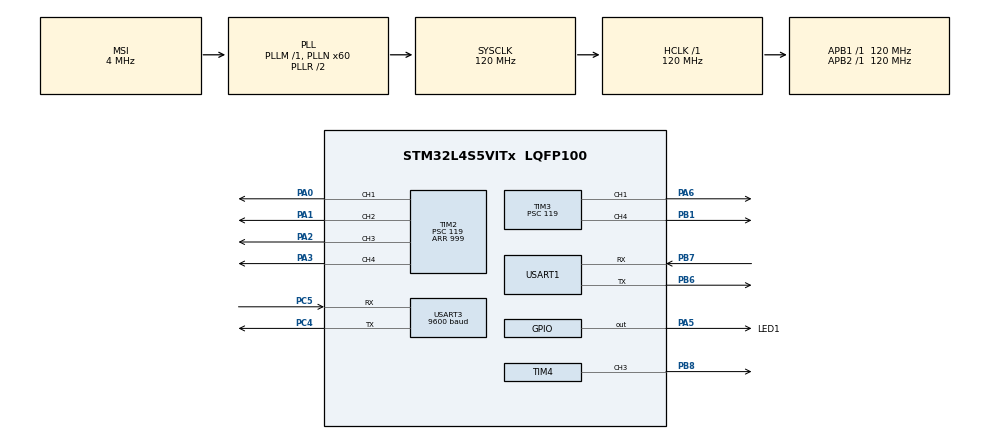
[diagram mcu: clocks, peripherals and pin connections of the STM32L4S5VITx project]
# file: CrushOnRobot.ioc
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Mcu.Family=STM32L4
Mcu.Name=STM32L4S5VITx
Mcu.Package=LQFP100
NVIC.PriorityGroup=NVIC_PRIORITYGROUP_4
NVIC.TIM1_UP_TIM16_IRQn=true\:15\:0\:false\:false\:true\:false\:true
NVIC.TimeBase=TIM1_UP_TIM16_IRQn
NVIC.TimeBaseIP=TIM1
NVIC.USART1_IRQn=true\:7\:0\:true\:false\:true\:true\:true
NVIC.USART3_IRQn=true\:7\:0\:true\:false\:true\:true\:true
PA0.Signal=S_TIM2_CH1
PA1.Signal=S_TIM2_CH2
PA13\ (JTMS/SWDIO).Mode=Serial_Wire
PA13\ (JTMS/SWDIO).Signal=SYS_JTMS-SWDIO
PA14\ (JTCK/SWCLK).Mode=Serial_Wire
PA14\ (JTCK/SWCLK).Signal=SYS_JTCK-SWCLK
PA2.Signal=S_TIM2_CH3
PA3.Signal=S_TIM2_CH4
PA5.GPIO_Label=LED1
PA5.Signal=GPIO_Output
PA6.Signal=S_TIM3_CH1
PA7.Signal=S_TIM3_CH2
PB1.Signal=S_TIM3_CH4
PB6.Mode=Asynchronous
PB6.Signal=USART1_TX
PB7.Mode=Asynchronous
PB7.Signal=USART1_RX
PB8.Signal=S_TIM4_CH3
PC4.Mode=Asynchronous
PC4.Signal=USART3_TX
PC5.Mode=Asynchronous
PC5.Signal=USART3_RX
PE9.Signal=S_CKOUTDFSDM1
PH3-BOOT0.GPIO_PuPd=GPIO_PULLDOWN
PH3-BOOT0.Signal=EVENTOUT
ProjectManager.HeapSize=0x200
ProjectManager.StackSize=0x400
ProjectManager.TargetToolchain=STM32CubeIDE
RCC.ADCFreq_Value=48000000
RCC.AHBFreq_Value=120000000
RCC.APB1Freq_Value=120000000
RCC.APB1TimFreq_Value=120000000
RCC.APB2Freq_Value=120000000
RCC.APB2TimFreq_Value=120000000
RCC.CortexFreq_Value=120000000
RCC.HCLKFreq_Value=120000000
RCC.HSE_VALUE=8000000
RCC.HSI48_VALUE=48000000
RCC.HSI_VALUE=16000000
RCC.LSE_VALUE=32768
RCC.MSI_VALUE=4000000
RCC.PLLN=60
RCC.PLLSAI1N=24
RCC.SYSCLKFreq_VALUE=120000000
RCC.SYSCLKSource=RCC_SYSCLKSOURCE_PLLCLK
RCC.USBFreq_Value=48000000
RCC.VCOOutputFreq_Value=240000000
SH.S_CKOUTDFSDM1.0=DFSDM1_CKOUT
SH.S_TIM2_CH1.0=TIM2_CH1,PWM Generation1 CH1
SH.S_TIM2_CH2.0=TIM2_CH2,PWM Generation2 CH2
SH.S_TIM2_CH3.0=TIM2_CH3,PWM Generation3 CH3
SH.S_TIM2_CH4.0=TIM2_CH4,PWM Generation4 CH4
SH.S_TIM3_CH1.0=TIM3_CH1,PWM Generation1 CH1
SH.S_TIM3_CH2.0=TIM3_CH2
SH.S_TIM3_CH4.0=TIM3_CH4,PWM Generation4 CH4
SH.S_TIM4_CH3.0=TIM4_CH3,PWM Generation3 CH3
TIM2.Channel-PWM\ Generation1\ CH1=TIM_CHANNEL_1
TIM2.Channel-PWM\ Generation2\ CH2=TIM_CHANNEL_2
TIM2.Channel-PWM\ Generation3\ CH3=TIM_CHANNEL_3
TIM2.Channel-PWM\ Generation4\ CH4=TIM_CHANNEL_4
TIM2.Period=999
TIM2.Prescaler=119
TIM2.Pulse-PWM\ Generation1\ CH1=799
TIM2.Pulse-PWM\ Generation2\ CH2=799
TIM2.Pulse-PWM\ Generation3\ CH3=799
TIM2.Pulse-PWM\ Generation4\ CH4=799
TIM3.Channel-PWM\ Generation1\ CH1=TIM_CHANNEL_1
TIM3.Channel-PWM\ Generation4\ CH4=TIM_CHANNEL_4
TIM3.Period=999
TIM3.Prescaler=119
TIM3.Pulse-PWM\ Generation1\ CH1=799
TIM3.Pulse-PWM\ Generation4\ CH4=799
TIM4.Channel-PWM\ Generation3\ CH3=TIM_CHANNEL_3
TIM4.Period=2000-1
TIM4.Prescaler=1200-1
USART1.VirtualMode-Asynchronous=VM_ASYNC
USART3.BaudRate=9600
USART3.VirtualMode-Asynchronous=VM_ASYNC
VP_SYS_VS_tim1.Mode=TIM1
board=B-L4S5I-IOT01A

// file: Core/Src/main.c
/* USER CODE BEGIN Header */
/**
  ******************************************************************************
  * @file           : main.c
  * @brief          : Main program body
  ******************************************************************************
  * @attention
  *
  * <h2><center>&copy; Copyright (c) 2022 STMicroelectronics.
  * All rights reserved.</center></h2>
  *
  * This software component is licensed by ST under BSD 3-Clause license,
  * the "License"; You may not use this file except in compliance with the
  * License. You may obtain a copy of the License at:
  *                        opensource.org/licenses/BSD-3-Clause
  *
  ******************************************************************************
  */
/* USER CODE END Header */
#include "main.h"
#include "tim.h"
#include "usart.h"
#include "gpio.h"

/* USER CODE BEGIN Includes */
#include "string.h"
#include "stdio.h"
/* USER CODE END Includes */

/* USER CODE BEGIN PV */
uint8_t mode = 'a';
uint8_t rpi = 'a';
uint8_t rpiBuf[2] = {'a', 'a'};
uint8_t rx_debug;
uint8_t rx_camera;
int ccr1 = 0;
int ccr2 = 799;
int ccr3 = 1999;
short isSameMode = 0;
short isSameRpi = 0;
/* USER CODE END PV */

void SystemClock_Config(void);
/* USER CODE BEGIN PFP */
int __io_putchar(int ch);
/* USER CODE END PFP */

/* USER CODE BEGIN 0 */
int __io_putchar(int ch){
	while(HAL_UART_Transmit(&huart1, (uint8_t *) &ch, 1, 30000) != HAL_OK){}
	return ch;
}

/* USER CODE END 0 */

int main(void)
{

  /* MCU Configuration--------------------------------------------------------*/

  /* Reset of all peripherals, Initializes the Flash interface and the Systick. */
  HAL_Init();

  /* Configure the system clock */
  SystemClock_Config();

  /* Initialize all configured peripherals */
  MX_GPIO_Init();
  MX_USART1_UART_Init();
  MX_TIM2_Init();
  MX_TIM3_Init();
  MX_TIM4_Init();
  MX_USART3_UART_Init();
  /* USER CODE BEGIN 2 */
  HAL_UART_Receive_IT(&huart1, (uint8_t*) &rx_debug, 1);
  HAL_UART_Receive_IT(&huart3, (uint8_t*) &rx_camera, 1);

  HAL_TIM_PWM_Start(&htim2, TIM_CHANNEL_1);
  HAL_TIM_PWM_Start(&htim2, TIM_CHANNEL_2);
  HAL_TIM_PWM_Start(&htim2, TIM_CHANNEL_3);
  HAL_TIM_PWM_Start(&htim2, TIM_CHANNEL_4);
  HAL_TIM_PWM_Start(&htim3, TIM_CHANNEL_1);
  HAL_TIM_PWM_Start(&htim3, TIM_CHANNEL_4);
  HAL_TIM_PWM_Start(&htim4, TIM_CHANNEL_3); //servo

  printf("Initial setup finished\n");
  /* USER CODE END 2 */

  /* Infinite loop */
  /* USER CODE BEGIN WHILE */
  while (1)
  {
	  if(!isSameMode){
			isSameMode = 1;
			if(mode == 'a') //stop
			{
				TIM3->CCR1 = ccr1;
				TIM3->CCR4 = ccr1;
				TIM2->CCR1 = ccr1;
				TIM2->CCR4 = ccr1;
				TIM2->CCR2 = ccr1;
				TIM2->CCR3 = ccr1;
			}

			else if(mode == 'b') //clockwise
			{
				TIM3->CCR1 = ccr1;
				TIM3->CCR4 = ccr2;
				TIM2->CCR1 = ccr1;
				TIM2->CCR4 = ccr2;
				TIM2->CCR2 = ccr1;
				TIM2->CCR3 = ccr2;
			}
			else if(mode == 'c') //counter-clockwise
			{
				TIM3->CCR1 = ccr2;
				TIM3->CCR4 = ccr1;
				TIM2->CCR1 = ccr2;
				TIM2->CCR4 = ccr1;
				TIM2->CCR2 = ccr2;
				TIM2->CCR3 = ccr1;
			}
			else if(mode == 'd') //backward
			{
				TIM3->CCR1 = ccr1;
				TIM3->CCR4 = ccr1;
				TIM2->CCR1 = ccr1;
				TIM2->CCR4 = ccr2;
				TIM2->CCR2 = ccr2;
				TIM2->CCR3 = ccr1;
			}
			else if(mode == 'e') //forward
			{
				TIM3->CCR1 = ccr1;
				TIM3->CCR4 = ccr1;
				TIM2->CCR1 = ccr2;
				TIM2->CCR4 = ccr1;
				TIM2->CCR2 = ccr1;
				TIM2->CCR3 = ccr2;
			}
			else if(mode == 'x') //neck up
			{
				for(int i = 0; i < 120; i++){
					  TIM4->CCR3 = i;
					  HAL_Delay(10);
				}
			}
			else if(mode == 'y') //neck down
			{
				for(int i = 120; i > 0; i--){
					  TIM4->CCR3 = i;
					  HAL_Delay(10);
				}
			}
			else
			{
				mode = 'a';
				isSameMode = 0;
			}

			printf("mode = %c\n", mode);
	  }

	  if(!isSameRpi)
	  {
		  isSameRpi = 1;
		  if(rpi == 'h')
		  {
			  printf("!!HELP!!\n");
		  }

		  if(rpi == 'r')
		  {
			  printf("Turn Right\n");
		  }
		  else if(rpi == 'l')
		  {
			  printf("Turn Left\n");
		  }
		  else if(rpi == 'f')
		  {
			  printf("Stay Front\n");
		  }

		  if(rpi == 'u')
		  {
			  if(TIM4->CCR3 > 115) // unsigned int 이므로 음수 -> 큰 양수가 됨
			  {
				  TIM4->CCR3 = 120;
			  }
			  else
			  {
				  printf("Neck Up");
				  for(int i = 0; i < 5; i++)
				  {
					  TIM4->CCR3 += 1;
					  HAL_Delay(40);
				  }
			  }

		  }
		  else if(rpi == 'd')
		  {
			  if(TIM4->CCR3 < 5)
			  {
				  TIM4->CCR3 = 0;
			  }
			  else
			  {
				  printf("Neck Down");
				  for(int i = 0; i < 5; i++)
				  {
					  TIM4->CCR3 -= 1;
					  HAL_Delay(40);
				  }
			  }
		  }
		  else if(rpi == 's'){
			  printf("Neck Stop");
		  }
	  }

    /* USER CODE END WHILE */

  }
}

void SystemClock_Config(void)
{
  RCC_OscInitTypeDef RCC_OscInitStruct = {0};
  RCC_ClkInitTypeDef RCC_ClkInitStruct = {0};

  /** Configure the main internal regulator output voltage
  */
  if (HAL_PWREx_ControlVoltageScaling(PWR_REGULATOR_VOLTAGE_SCALE1_BOOST) != HAL_OK)
  {
    Error_Handler();
  }
  /** Initializes the RCC Oscillators according to the specified parameters
  * in the RCC_OscInitTypeDef structure.
  */
  RCC_OscInitStruct.OscillatorType = RCC_OSCILLATORTYPE_MSI;
  RCC_OscInitStruct.MSIState = RCC_MSI_ON;
  RCC_OscInitStruct.MSICalibrationValue = 0;
  RCC_OscInitStruct.MSIClockRange = RCC_MSIRANGE_6;
  RCC_OscInitStruct.PLL.PLLState = RCC_PLL_ON;
  RCC_OscInitStruct.PLL.PLLSource = RCC_PLLSOURCE_MSI;
  RCC_OscInitStruct.PLL.PLLM = 1;
  RCC_OscInitStruct.PLL.PLLN = 60;
  RCC_OscInitStruct.PLL.PLLP = RCC_PLLP_DIV2;
  RCC_OscInitStruct.PLL.PLLQ = RCC_PLLQ_DIV2;
  RCC_OscInitStruct.PLL.PLLR = RCC_PLLR_DIV2;
  if (HAL_RCC_OscConfig(&RCC_OscInitStruct) != HAL_OK)
  {
    Error_Handler();
  }
  /** Initializes the CPU, AHB and APB buses clocks
  */
  RCC_ClkInitStruct.ClockType = RCC_CLOCKTYPE_HCLK|RCC_CLOCKTYPE_SYSCLK
                              |RCC_CLOCKTYPE_PCLK1|RCC_CLOCKTYPE_PCLK2;
  RCC_ClkInitStruct.SYSCLKSource = RCC_SYSCLKSOURCE_PLLCLK;
  RCC_ClkInitStruct.AHBCLKDivider = RCC_SYSCLK_DIV1;
  RCC_ClkInitStruct.APB1CLKDivider = RCC_HCLK_DIV1;
  RCC_ClkInitStruct.APB2CLKDivider = RCC_HCLK_DIV1;

  if (HAL_RCC_ClockConfig(&RCC_ClkInitStruct, FLASH_LATENCY_5) != HAL_OK)
  {
    Error_Handler();
  }
}

/* USER CODE BEGIN 4 */
void HAL_UART_RxCpltCallback(UART_HandleTypeDef *huart){
	if(huart -> Instance == USART1){
		isSameMode = 0;
		mode = rx_debug;
		printf("====mode changed====\n");
		HAL_UART_Receive_IT(&huart1, (uint8_t*) &rx_debug, 1);
	}
	else if(huart -> Instance == USART3){
		rpiBuf[0] = rpiBuf[1];
		rpiBuf[1] = rx_camera;
		if(rpiBuf[0] != rpiBuf[1])
		{
			isSameRpi = 0;
		}
		rpi = rx_camera;
		HAL_UART_Receive_IT(&huart3, (uint8_t*) &rx_camera, 1);
	}
}
/* USER CODE END 4 */

void HAL_TIM_PeriodElapsedCallback(TIM_HandleTypeDef *htim)
{
  if (htim->Instance == TIM1) {
    HAL_IncTick();
  }
}

void Error_Handler(void)
{
  __disable_irq();
  while (1)
  {
  }
}

/************************ (C) COPYRIGHT STMicroelectronics *****END OF FILE****/
